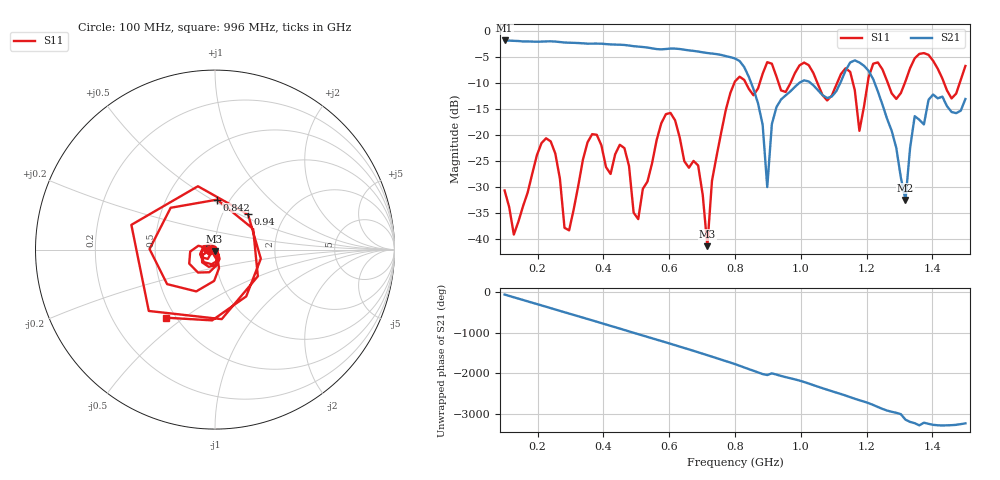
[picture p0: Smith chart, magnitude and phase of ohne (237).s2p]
! NanoVNA-App
! Date: 2025-09-25 14:22:38
! Start: 100MHz Stop: 1,5GHz Points: 101
! S-Parameter data: F S11 S21 S12 S22
# Hz S RI R 50
!  Frequency  S11_Real  S11_Imag  S21_Real  S21_Imag  S12_Real  S12_Imag  S22_Real  S22_Imag
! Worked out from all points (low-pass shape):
!   101 points, 100 MHz to 1.5 GHz, reference 50 ohm
!   highest |S21| = -1.79 dB at 100 MHz (marker M1); lowest = -32.5 dB at 1.318 GHz (marker M2)
!   |S21| within 3 dB of the highest: start of sweep to 771.7 MHz
!   lowest |S11| = -41.3 dB at 716 MHz (marker M3), VSWR 1.02, Z = 49.8 - j0.821 ohm
!   |S11| at or under -10 dB: start of sweep to 797.8 MHz; 833.1 MHz to 875.1 MHz (42 MHz wide, 4.92 % of centre); 1.051 GHz to 1.11 GHz (59.48 MHz wide, 5.51 % of centre) (the widest 3 of 7)
!   S12 and S22 are empty: the file has one direction only
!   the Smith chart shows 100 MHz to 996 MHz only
!   S11 on the Smith chart (normalised r, x): 100 MHz: 0.94, -0.01; 842 MHz: 0.88, +0.53; 940 MHz: 1.32, +0.56; 996 MHz: 0.44, -0.43
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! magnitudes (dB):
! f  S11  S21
! 100 MHz  -30.6  -1.8
! 128 MHz  -39.1  -1.9
! 226 MHz  -20.6  -2.0
! 296 MHz  -38.3  -2.2
! 338 MHz  -24.7  -2.3
! 464 MHz  -22.5  -2.7
! 506 MHz  -36.2  -3.0
! 576 MHz  -17.7  -3.5
! 688 MHz  -25.8  -3.9
! 716 MHz  -41.3  -4.2
! 800 MHz  -9.7  -5.3
! 842 MHz  -11.1  -8.8
! 898 MHz  -6.0  -30.0
! 940 MHz  -11.4  -13.1
! 996 MHz  -6.6  -9.9
! 1.038 GHz  -8.0  -10.4
! 1.178 GHz  -19.2  -6.0
! 1.22 GHz  -6.3  -9.3
! 1.276 GHz  -12.0  -19.2
! 1.318 GHz  -9.6  -32.5
! 1.346 GHz  -5.2  -16.3
! 1.5 GHz  -6.7  -13.1
